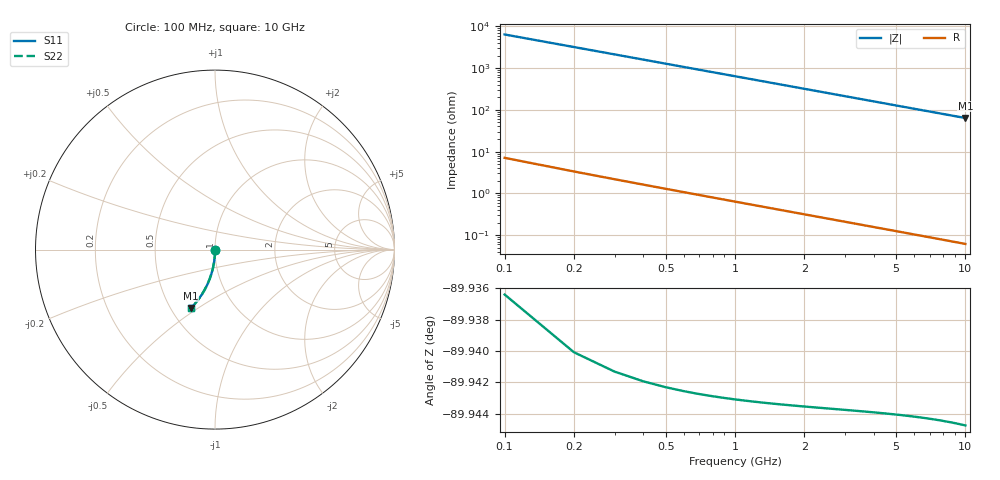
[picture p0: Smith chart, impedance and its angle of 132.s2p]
# Hz S RI R 50.00
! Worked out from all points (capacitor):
!   100 points, 100 MHz to 10 GHz, reference 50 ohm
!   read as one part in shunt: C = 249 fF near 100 MHz
!   lowest |Z| = 63.9 ohm at 10 GHz (marker M1)
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1e8  3.61e-05 -0.00376  0.9999 -0.00405  0.9999 -0.00405  3.61e-05 -0.00376
2e8  -1.31e-05 -0.00752  0.9999 -0.0081  0.9999 -0.0081  -1.31e-05 -0.00752
3e8  -9.28e-05 -0.0113  0.9998 -0.0122  0.9998 -0.0122  -9.28e-05 -0.0113
4e8  -0.000203 -0.015  0.9997 -0.0162  0.9997 -0.0162  -0.000203 -0.015
5e8  -0.000344 -0.0188  0.9995 -0.0203  0.9995 -0.0203  -0.000344 -0.0188
6e8  -0.000515 -0.0225  0.9994 -0.0243  0.9994 -0.0243  -0.000515 -0.0225
7e8  -0.000716 -0.0263  0.9992 -0.0283  0.9992 -0.0283  -0.000716 -0.0263
8e8  -0.000948 -0.03  0.9989 -0.0324  0.9989 -0.0324  -0.000948 -0.03
9e8  -0.00121 -0.0338  0.9987 -0.0364  0.9987 -0.0364  -0.00121 -0.0338
1.1e9  -0.00183 -0.0413  0.9981 -0.0445  0.9981 -0.0445  -0.00183 -0.0413
1.4e9  -0.00298 -0.0525  0.9969 -0.0566  0.9969 -0.0566  -0.00298 -0.0525
1.8e9  -0.00493 -0.0674  0.9949 -0.0726  0.9949 -0.0726  -0.00493 -0.0674
2.1e9  -0.00671 -0.0784  0.9932 -0.0846  0.9932 -0.0846  -0.00671 -0.0784
2.5e9  -0.00949 -0.0931  0.9904 -0.1005  0.9904 -0.1005  -0.00949 -0.0931
2.9e9  -0.0127 -0.1077  0.9871 -0.1162  0.9871 -0.1162  -0.0127 -0.1077
3.4e9  -0.0174 -0.1257  0.9824 -0.1357  0.9824 -0.1357  -0.0174 -0.1257
4.2e9  -0.0264 -0.1539  0.9734 -0.1662  0.9734 -0.1662  -0.0264 -0.1539
5.1e9  -0.0385 -0.1846  0.9613 -0.1996  0.9613 -0.1996  -0.0385 -0.1846
5.9e9  -0.0509 -0.2108  0.9489 -0.2282  0.9489 -0.2282  -0.0509 -0.2108
6.7e9  -0.0647 -0.2359  0.935 -0.2557  0.935 -0.2557  -0.0647 -0.2359
8.4e9  -0.0984 -0.2852  0.9012 -0.31  0.9012 -0.31  -0.0984 -0.2852
1e10  -0.1342 -0.3259  0.8652 -0.3556  0.8652 -0.3556  -0.1342 -0.3259
